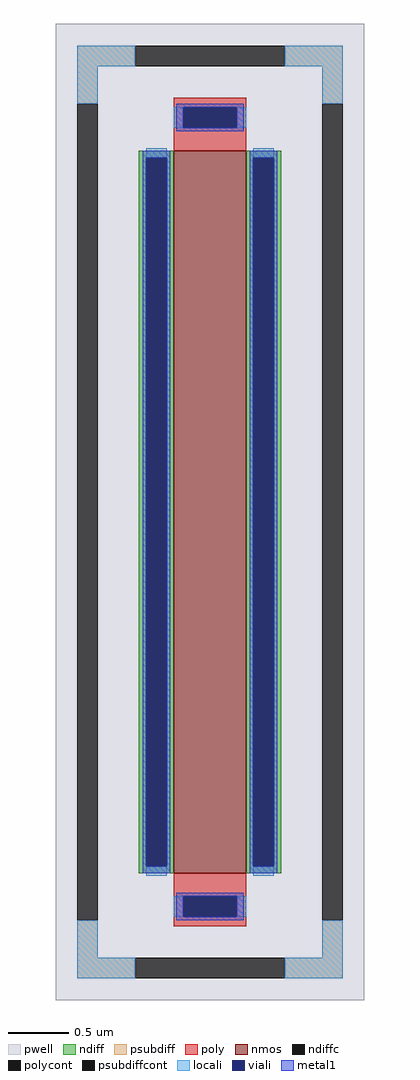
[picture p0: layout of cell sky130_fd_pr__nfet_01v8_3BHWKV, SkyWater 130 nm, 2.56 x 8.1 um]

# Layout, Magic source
magic
tech sky130A
<< pwell >>
rect -128 -405 128 405
<< nmos >>
rect -30 -300 30 300
<< ndiff >>
rect -59 294 -30 300
rect -59 -294 -53 294
rect -36 -294 -30 294
rect -59 -300 -30 -294
rect 30 294 59 300
rect 30 -294 36 294
rect 53 -294 59 294
rect 30 -300 59 -294
<< ndiffc >>
rect -53 -294 -36 294
rect 36 -294 53 294
<< psubdiff >>
rect -110 370 -62 387
rect 62 370 110 387
rect -110 339 -93 370
rect 93 339 110 370
rect -110 -370 -93 -339
rect 93 -370 110 -339
rect -110 -387 -62 -370
rect 62 -387 110 -370
<< psubdiffcont >>
rect -62 370 62 387
rect -110 -339 -93 339
rect 93 -339 110 339
rect -62 -387 62 -370
<< poly >>
rect -30 336 30 344
rect -30 319 -22 336
rect 22 319 30 336
rect -30 300 30 319
rect -30 -319 30 -300
rect -30 -336 -22 -319
rect 22 -336 30 -319
rect -30 -344 30 -336
<< polycont >>
rect -22 319 22 336
rect -22 -336 22 -319
<< locali >>
rect -110 370 -62 387
rect 62 370 110 387
rect -110 339 -93 370
rect 93 339 110 370
rect -30 319 -22 336
rect 22 319 30 336
rect -53 294 -36 302
rect -53 -302 -36 -294
rect 36 294 53 302
rect 36 -302 53 -294
rect -30 -336 -22 -319
rect 22 -336 30 -319
rect -110 -370 -93 -339
rect 93 -370 110 -339
rect -110 -387 -62 -370
rect 62 -387 110 -370
<< viali >>
rect -22 319 22 336
rect -53 -294 -36 294
rect 36 -294 53 294
rect -22 -336 22 -319
<< metal1 >>
rect -28 336 28 339
rect -28 319 -22 336
rect 22 319 28 336
rect -28 316 28 319
rect -56 294 -33 300
rect -56 -294 -53 294
rect -36 -294 -33 294
rect -56 -300 -33 -294
rect 33 294 56 300
rect 33 -294 36 294
rect 53 -294 56 294
rect 33 -300 56 -294
rect -28 -319 28 -316
rect -28 -336 -22 -319
rect 22 -336 28 -319
rect -28 -339 28 -336
<< properties >>
string FIXED_BBOX -101 -378 101 378
string gencell sky130_fd_pr__nfet_01v8
string library sky130
string parameters w 6.0 l 0.6 m 1 nf 1 diffcov 100 polycov 100 guard 1 glc 1 grc 1 gtc 1 gbc 1 tbcov 100 rlcov 100 topc 1 botc 1 poverlap 0 doverlap 1 lmin 0.15 wmin 0.42 compatible {sky130_fd_pr__nfet_01v8 sky130_fd_pr__nfet_01v8_lvt  sky130_fd_bs_flash__special_sonosfet_star  sky130_fd_pr__nfet_g5v0d10v5 sky130_fd_pr__nfet_05v0_nvt  sky130_fd_pr__nfet_03v3_nvt} full_metal 1 viasrc 100 viadrn 100 viagate 100 viagb 0 viagr 0 viagl 0 viagt 0
<< end >>
